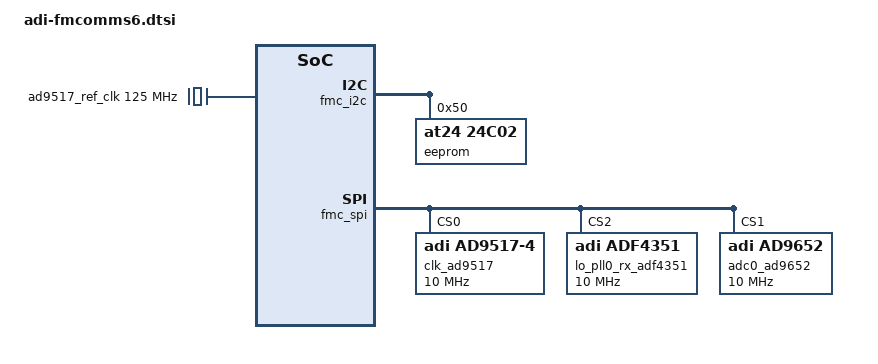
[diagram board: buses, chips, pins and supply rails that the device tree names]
/ {
	clocks {
		ad9517_ref_clk: clock@0 {
				#clock-cells = <0>;
				compatible = "fixed-clock";
				clock-frequency = <125000000>;
				clock-output-names = "refclk";
		};
		ad9517_clkin: clock@1 {
				#clock-cells = <0>;
				compatible = "fixed-clock";
				clock-frequency = <1200000000>;
				clock-output-names = "clkin";
		};
	};
};

&fmc_i2c {
	eeprom@50 {
		compatible = "at24,24c02";
		reg = <0x50>;
	};
};

&fmc_spi {
	clk_ad9517: ad9517@0 {
		#address-cells = <1>;
		#size-cells = <0>;
		#clock-cells = <1>;
		compatible = "adi,ad9517-4";
		reg = <0>;
		spi-max-frequency = <10000000>;
		clocks = <&ad9517_ref_clk>, <&ad9517_clkin>;
		clock-names = "refclk", "clkin";
		clock-output-names = "out0", "out1", "out2", "out3", "out4", "out5", "out6", "out7";
		firmware = "ad9517_fmcomms6.stp";
		adi,spi-3wire-enable;
	};

	lo_pll0_rx_adf4351: adf4351-rx-lpc@2 {
		#address-cells = <1>;
		#size-cells = <0>;
		compatible = "adi,adf4351";
		reg = <2>;
		spi-max-frequency = <10000000>;
		clocks = <&ad9517_ref_clk>;
		clock-names = "clkin";
		adi,channel-spacing = <10000>;
		adi,power-up-frequency = <1500000000>;
		adi,phase-detector-polarity-positive-enable;
		adi,charge-pump-current = <2500>;
		adi,output-power = <3>;
		adi,mute-till-lock-enable;
	};

	adc0_ad9652: ad9652@0 {
		#address-cells = <1>;
		#size-cells = <0>;
		compatible = "adi,ad9652";
		reg = <1>;
		spi-max-frequency = <10000000>;
		clocks = <&clk_ad9517 0>;
	};
};
